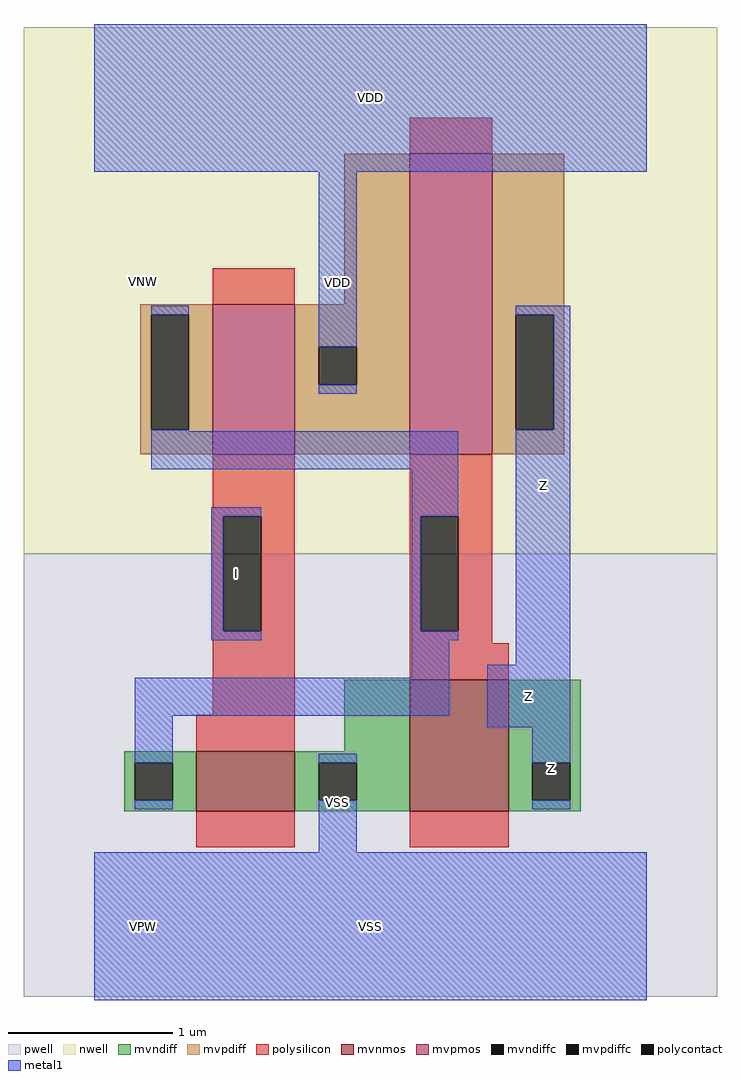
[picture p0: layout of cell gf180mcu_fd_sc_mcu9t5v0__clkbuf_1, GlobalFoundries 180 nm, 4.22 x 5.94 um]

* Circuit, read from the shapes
.subckt gf180mcu_fd_sc_mcu9t5v0__clkbuf_1 I Z VDD VNW VPW VSS
XM1 VSS I n1 VPW nfet_06v0 w=0.365u l=0.6u
XM2 Z n1 VSS VPW nfet_06v0 w=0.8u l=0.6u
XM3 VDD I n1 VNW pfet_06v0 w=0.915u l=0.5u
XM4 Z n1 VDD VNW pfet_06v0 w=1.83u l=0.5u
.ends

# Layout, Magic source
magic
tech gf180mcuD
magscale 1 10
<< nwell >>
rect -86 453 758 1094
<< pwell >>
rect -86 -86 758 453
<< mvnmos >>
rect 124 140 244 213
rect 384 140 504 300
<< mvpmos >>
rect 144 574 244 757
rect 384 574 484 940
<< mvndiff >>
rect 304 213 384 300
rect 36 199 124 213
rect 36 153 49 199
rect 95 153 124 199
rect 36 140 124 153
rect 244 199 384 213
rect 244 153 273 199
rect 319 153 384 199
rect 244 140 384 153
rect 504 199 592 300
rect 504 153 533 199
rect 579 153 592 199
rect 504 140 592 153
<< mvpdiff >>
rect 304 757 384 940
rect 56 744 144 757
rect 56 604 69 744
rect 115 604 144 744
rect 56 574 144 604
rect 244 705 384 757
rect 244 659 273 705
rect 319 659 384 705
rect 244 574 384 659
rect 484 744 572 940
rect 484 604 513 744
rect 559 604 572 744
rect 484 574 572 604
<< mvndiffc >>
rect 49 153 95 199
rect 273 153 319 199
rect 533 153 579 199
<< mvpdiffc >>
rect 69 604 115 744
rect 273 659 319 705
rect 513 604 559 744
<< polysilicon >>
rect 384 940 484 984
rect 144 757 244 801
rect 144 499 244 574
rect 144 359 157 499
rect 203 359 244 499
rect 144 257 244 359
rect 384 499 484 574
rect 384 359 397 499
rect 443 359 484 499
rect 384 344 484 359
rect 384 300 504 344
rect 124 213 244 257
rect 124 96 244 140
rect 384 96 504 140
<< polycontact >>
rect 157 359 203 499
rect 397 359 443 499
<< metal1 >>
rect 0 918 672 1098
rect 69 744 115 755
rect 273 705 319 918
rect 273 648 319 659
rect 513 744 579 755
rect 69 602 115 604
rect 559 604 579 744
rect 69 556 443 602
rect 142 499 203 510
rect 142 359 157 499
rect 142 348 203 359
rect 386 499 443 556
rect 386 359 397 499
rect 386 348 443 359
rect 386 302 432 348
rect 513 318 579 604
rect 49 256 432 302
rect 49 199 95 256
rect 478 242 579 318
rect 49 142 95 153
rect 273 199 319 210
rect 273 90 319 153
rect 533 199 579 242
rect 533 142 579 153
rect 0 -90 672 90
<< labels >>
flabel metal1 s 142 348 203 510 0 FreeSans 200 0 0 0 I
port 1 nsew default input
flabel metal1 s 0 918 672 1098 0 FreeSans 200 0 0 0 VDD
port 3 nsew power bidirectional abutment
flabel metal1 s 273 90 319 210 0 FreeSans 200 0 0 0 VSS
port 6 nsew ground bidirectional abutment
flabel metal1 s 513 318 579 755 0 FreeSans 200 0 0 0 Z
port 2 nsew default output
flabel nwell s 10 734 110 834 0 FreeSans 400 0 0 0 VNW
port 4 nsew power bidirectional
flabel pwell s 10 -50 110 50 0 FreeSans 400 0 0 0 VPW
port 5 nsew ground bidirectional
rlabel metal1 s 478 242 579 318 1 Z
port 2 nsew default output
rlabel metal1 s 533 142 579 242 1 Z
port 2 nsew default output
rlabel metal1 s 273 648 319 918 1 VDD
port 3 nsew power bidirectional abutment
rlabel metal1 s 0 -90 672 90 1 VSS
port 6 nsew ground bidirectional abutment
<< properties >>
string FIXED_BBOX 0 0 672 1008
string GDS_END 1383358
string GDS_FILE $PDKPATH/libs.ref/gf180mcu_fd_sc_mcu9t5v0/gds/gf180mcu_fd_sc_mcu9t5v0.gds
string GDS_START 1380616
string LEFclass core
string LEFsite GF018hv5v_green_sc9
string LEFsymmetry X Y
string MASKHINTS_DUALGATE -56 988 304 1064 564 988 728 1064 -56 881 256 988 -56 805 64 881 -56 526 8 805 620 526 728 988 -56 337 64 526 564 424 728 526 584 348 728 424 -56 261 44 337 -56 92 -12 261 640 92 728 348 -56 16 44 92 584 16 728 92 -56 -56 728 16
string MASKHINTS_NPLUS -40 346 712 453 -40 332 338 346 550 332 712 346 -40 259 272 332 -40 245 78 259 -40 108 4 245 624 108 712 332 -40 94 78 108 550 94 712 108 -40 -40 712 94
string MASKHINTS_PPLUS -40 986 712 1048 -40 972 338 986 530 972 712 986 -40 803 272 972 -40 789 98 803 -40 542 24 789 604 542 712 972 -40 528 98 542 530 528 712 542 -40 453 712 528
<< end >>
